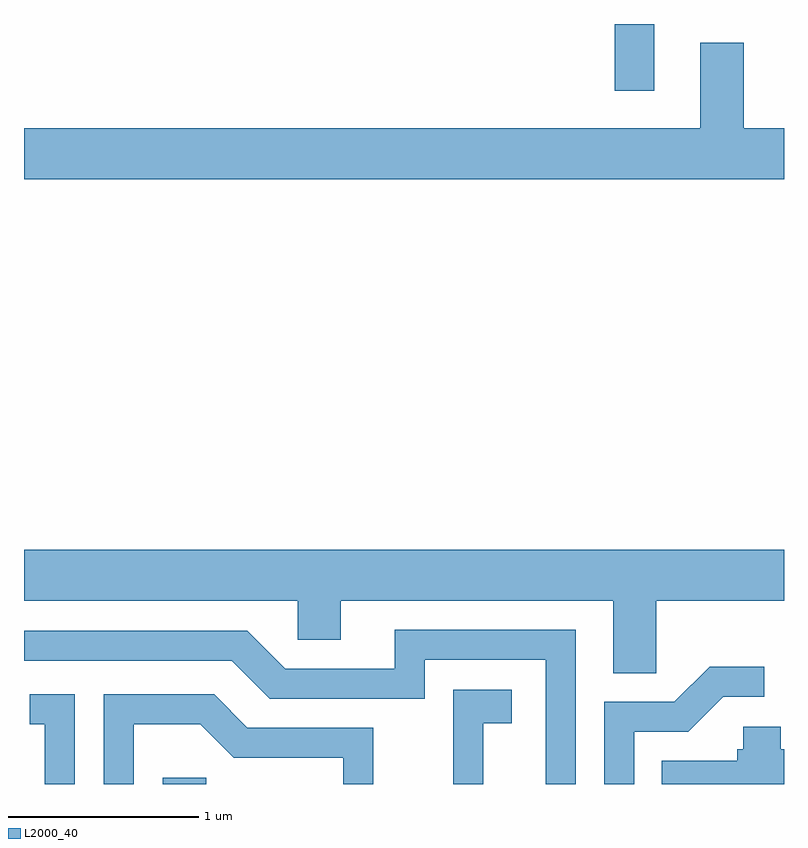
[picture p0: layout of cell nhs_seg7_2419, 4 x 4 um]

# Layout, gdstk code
import gdstk
lib = gdstk.Library(unit=1e-6, precision=1e-09)
def R(c, l, rs):  # rectangles x0, y0, x1, y1
    for r in rs: c.add(gdstk.rectangle(r[:2], r[2:], *l))
def P(c, l, *ps):  # polygons
    for p in ps: c.add(gdstk.Polygon(p, *l))
L2000_40 = (2000, 40)

nhs_seg7_2419 = lib.new_cell('nhs_seg7_2419')
R(nhs_seg7_2419, L2000_40, [(260.341,1702.252,260.569,1702.284), (262.721,1705.901,262.929,1706.252)])
P(nhs_seg7_2419, L2000_40, [(263.611,1705.704),(263.399,1705.704),(263.399,1706.154),(263.171,1706.154),(263.171,1705.704),(259.611,1705.704),(259.611,1705.436),(263.611,1705.436)],
  [(262.939,1703.216),(263.611,1703.216),(263.611,1703.484),(259.611,1703.484),(259.611,1703.216),(261.051,1703.216),(261.051,1703.011),(261.279,1703.011),(261.279,1703.216),(262.711,1703.216),(262.711,1702.836),(262.939,1702.836)],
  [(262.514,1703.064),(261.561,1703.064),(261.561,1702.859),(260.986,1702.859),(260.787,1703.059),(259.611,1703.059),(259.611,1702.901),(260.704,1702.901),(260.904,1702.701),(261.719,1702.701),(261.719,1702.906),(262.356,1702.906),(262.356,1702.252),(262.514,1702.252)],
  [(262.824,1702.526),(263.107,1702.526),(263.292,1702.711),(263.508,1702.711),(263.508,1702.869),(263.219,1702.869),(263.034,1702.684),(262.666,1702.684),(262.666,1702.252),(262.824,1702.252)],
  [(262.029,1702.571),(262.179,1702.571),(262.179,1702.749),(261.871,1702.749),(261.871,1702.252),(262.029,1702.252)],
  [(260.189,1702.566),(260.539,1702.566),(260.714,1702.391),(261.291,1702.391),(261.291,1702.252),(261.449,1702.252),(261.449,1702.549),(260.787,1702.549),(260.611,1702.724),(260.031,1702.724),(260.031,1702.252),(260.189,1702.252)],
  [(259.879,1702.724),(259.642,1702.724),(259.642,1702.566),(259.721,1702.566),(259.721,1702.252),(259.879,1702.252)],
  [(263.611,1702.434),(263.594,1702.434),(263.594,1702.554),(263.396,1702.554),(263.396,1702.434),(263.366,1702.434),(263.366,1702.374),(262.968,1702.374),(262.968,1702.252),(263.611,1702.252)])

lib.write_gds('nhs_seg7_2419.gds')
